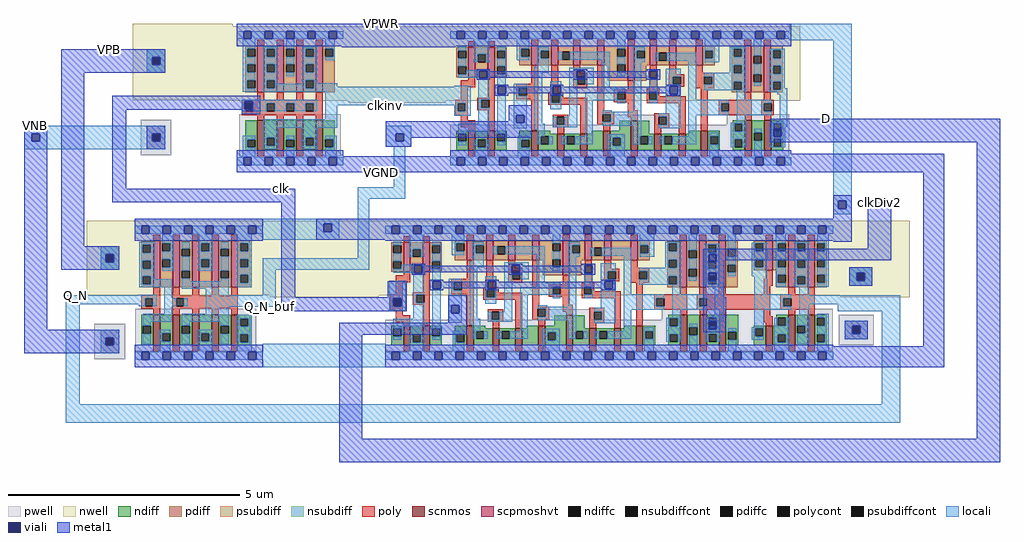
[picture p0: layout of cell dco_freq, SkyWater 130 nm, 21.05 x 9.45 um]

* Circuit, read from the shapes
.subckt dco_freq D Q_N Q_N_buf VGND VNB VPB VPWR clk clkDiv2 clkinv
XM1 VGND Q_N n1 VNB sky130_fd_pr__nfet_01v8 w=0.65 l=0.15
XM2 Q_N_buf n1 VGND VNB sky130_fd_pr__nfet_01v8 w=0.65 l=0.15 m=4
XM3 clkinv clk VGND VNB sky130_fd_pr__nfet_01v8 w=0.65 l=0.15 m=4
XM4 VGND clk n2 VNB sky130_fd_pr__nfet_01v8 w=0.42 l=0.15
XM5 n3 n2 VGND VNB sky130_fd_pr__nfet_01v8 w=0.42 l=0.15
XM6 n4 D VGND VNB sky130_fd_pr__nfet_01v8 w=0.42 l=0.15
XM7 VGND clkinv n5 VNB sky130_fd_pr__nfet_01v8 w=0.42 l=0.15
XM8 n6 n5 VGND VNB sky130_fd_pr__nfet_01v8 w=0.42 l=0.15
XM9 n7 n2 n4 VNB sky130_fd_pr__nfet_01v8 w=0.36 l=0.15
XM10 n8 n3 n7 VNB sky130_fd_pr__nfet_01v8 w=0.36 l=0.15
XM11 n9 Q_N_buf VGND VNB sky130_fd_pr__nfet_01v8 w=0.42 l=0.15
XM12 VGND n10 n8 VNB sky130_fd_pr__nfet_01v8 w=0.42 l=0.15
XM13 n11 n5 n9 VNB sky130_fd_pr__nfet_01v8 w=0.36 l=0.15
XM14 n10 n7 VGND VNB sky130_fd_pr__nfet_01v8 w=0.64 l=0.15
XM15 n12 n6 n11 VNB sky130_fd_pr__nfet_01v8 w=0.36 l=0.15
XM16 n13 n3 n10 VNB sky130_fd_pr__nfet_01v8 w=0.36 l=0.15
XM17 VGND n14 n12 VNB sky130_fd_pr__nfet_01v8 w=0.42 l=0.15
XM18 n15 n2 n13 VNB sky130_fd_pr__nfet_01v8 w=0.36 l=0.15
XM19 n14 n11 VGND VNB sky130_fd_pr__nfet_01v8 w=0.64 l=0.15
XM20 VGND n16 n15 VNB sky130_fd_pr__nfet_01v8 w=0.42 l=0.15
XM21 n17 n6 n14 VNB sky130_fd_pr__nfet_01v8 w=0.36 l=0.15
XM22 n18 n5 n17 VNB sky130_fd_pr__nfet_01v8 w=0.36 l=0.15
XM23 VGND n13 n16 VNB sky130_fd_pr__nfet_01v8 w=0.65 l=0.15
XM24 clkDiv2 n16 VGND VNB sky130_fd_pr__nfet_01v8 w=0.65 l=0.15 m=2
XM25 VGND n19 n18 VNB sky130_fd_pr__nfet_01v8 w=0.42 l=0.15
XM26 VGND n17 n19 VNB sky130_fd_pr__nfet_01v8 w=0.65 l=0.15
XM27 D n19 VGND VNB sky130_fd_pr__nfet_01v8 w=0.65 l=0.15
XM28 VGND n16 n20 VNB sky130_fd_pr__nfet_01v8 w=0.42 l=0.15
XM29 Q_N n20 VGND VNB sky130_fd_pr__nfet_01v8 w=0.65 l=0.15 m=2
XM30 VPWR Q_N n1 VPB sky130_fd_pr__pfet_01v8_hvt w=1 l=0.15
XM31 Q_N_buf n1 VPWR VPB sky130_fd_pr__pfet_01v8_hvt w=1 l=0.15 m=4
XM32 clkinv clk VPWR VPB sky130_fd_pr__pfet_01v8_hvt w=1 l=0.15 m=4
XM33 VPWR clk n2 VPB sky130_fd_pr__pfet_01v8_hvt w=0.64 l=0.15
XM34 n3 n2 VPWR VPB sky130_fd_pr__pfet_01v8_hvt w=0.64 l=0.15
XM35 n4 D VPWR VPB sky130_fd_pr__pfet_01v8_hvt w=0.42 l=0.15
XM36 VPWR clkinv n5 VPB sky130_fd_pr__pfet_01v8_hvt w=0.64 l=0.15
XM37 n7 n3 n4 VPB sky130_fd_pr__pfet_01v8_hvt w=0.42 l=0.15
XM38 n6 n5 VPWR VPB sky130_fd_pr__pfet_01v8_hvt w=0.64 l=0.15
XM39 n21 n2 n7 VPB sky130_fd_pr__pfet_01v8_hvt w=0.42 l=0.15
XM40 n9 Q_N_buf VPWR VPB sky130_fd_pr__pfet_01v8_hvt w=0.42 l=0.15
XM41 VPWR n10 n21 VPB sky130_fd_pr__pfet_01v8_hvt w=0.42 l=0.15
XM42 n11 n6 n9 VPB sky130_fd_pr__pfet_01v8_hvt w=0.42 l=0.15
XM43 n10 n7 VPWR VPB sky130_fd_pr__pfet_01v8_hvt w=0.75 l=0.15
XM44 n22 n5 n11 VPB sky130_fd_pr__pfet_01v8_hvt w=0.42 l=0.15
XM45 n13 n2 n10 VPB sky130_fd_pr__pfet_01v8_hvt w=0.42 l=0.15
XM46 VPWR n14 n22 VPB sky130_fd_pr__pfet_01v8_hvt w=0.42 l=0.15
XM47 n23 n3 n13 VPB sky130_fd_pr__pfet_01v8_hvt w=0.42 l=0.15
XM48 n14 n11 VPWR VPB sky130_fd_pr__pfet_01v8_hvt w=0.75 l=0.15
XM49 VPWR n16 n23 VPB sky130_fd_pr__pfet_01v8_hvt w=0.42 l=0.15
XM50 n17 n5 n14 VPB sky130_fd_pr__pfet_01v8_hvt w=0.42 l=0.15
XM51 n24 n6 n17 VPB sky130_fd_pr__pfet_01v8_hvt w=0.42 l=0.15
XM52 VPWR n13 n16 VPB sky130_fd_pr__pfet_01v8_hvt w=1 l=0.15
XM53 VPWR n19 n24 VPB sky130_fd_pr__pfet_01v8_hvt w=0.42 l=0.15
XM54 clkDiv2 n16 VPWR VPB sky130_fd_pr__pfet_01v8_hvt w=1 l=0.15 m=2
XM55 VPWR n17 n19 VPB sky130_fd_pr__pfet_01v8_hvt w=1 l=0.15
XM56 D n19 VPWR VPB sky130_fd_pr__pfet_01v8_hvt w=1 l=0.15
XM57 VPWR n16 n20 VPB sky130_fd_pr__pfet_01v8_hvt w=0.64 l=0.15
XM58 Q_N n20 VPWR VPB sky130_fd_pr__pfet_01v8_hvt w=1 l=0.15 m=2
.ends

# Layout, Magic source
magic
tech sky130A
magscale 1 2
<< nwell >>
rect -410 310 20 640
rect 520 300 940 630
rect -610 -530 -440 -210
rect 180 -540 650 -210
rect 2640 -260 2940 -210
rect 2630 -270 2940 -260
rect 2640 -540 2940 -270
<< pwell >>
rect -376 74 -244 226
rect -576 -806 -444 -654
rect 2634 -746 2786 -614
<< psubdiff >>
rect -350 167 -270 200
rect -350 133 -327 167
rect -293 133 -270 167
rect -350 100 -270 133
rect 2660 -663 2760 -640
rect -550 -713 -470 -680
rect -550 -747 -527 -713
rect -493 -747 -470 -713
rect 2660 -697 2693 -663
rect 2727 -697 2760 -663
rect 2660 -720 2760 -697
rect -550 -780 -470 -747
<< nsubdiff >>
rect -350 497 -270 530
rect -350 463 -327 497
rect -293 463 -270 497
rect -350 430 -270 463
rect -550 -353 -470 -320
rect -550 -387 -527 -353
rect -493 -387 -470 -353
rect -550 -420 -470 -387
rect 2680 -433 2780 -410
rect 2680 -467 2713 -433
rect 2747 -467 2780 -433
rect 2680 -490 2780 -467
<< psubdiffcont >>
rect -327 133 -293 167
rect -527 -747 -493 -713
rect 2693 -697 2727 -663
<< nsubdiffcont >>
rect -327 463 -293 497
rect -527 -387 -493 -353
rect 2713 -467 2747 -433
<< locali >>
rect 2420 570 2690 640
rect -350 497 -270 530
rect -350 463 -327 497
rect -293 463 -270 497
rect -350 430 -270 463
rect 70 307 110 310
rect 70 273 73 307
rect 107 273 110 307
rect 470 290 980 370
rect 70 270 110 273
rect 1240 247 1280 250
rect 1240 213 1243 247
rect 1277 213 1280 247
rect 1240 210 1280 213
rect -880 167 -270 200
rect -880 133 -847 167
rect -813 133 -327 167
rect -293 133 -270 167
rect -880 100 -270 133
rect 680 167 790 200
rect 680 133 723 167
rect 757 133 790 167
rect 2350 187 2390 190
rect 2350 153 2353 187
rect 2387 153 2390 187
rect 2350 150 2390 153
rect 680 110 790 133
rect 715 -65 765 110
rect 560 -115 765 -65
rect 150 -223 480 -200
rect 150 -257 413 -223
rect 447 -257 480 -223
rect 150 -290 480 -257
rect -550 -353 -470 -320
rect -550 -387 -527 -353
rect -493 -387 -470 -353
rect 560 -370 610 -115
rect 2610 -123 2690 570
rect 2610 -157 2633 -123
rect 2667 -157 2690 -123
rect 2610 -180 2690 -157
rect -550 -420 -470 -387
rect 150 -420 610 -370
rect 2070 -353 2110 -350
rect 2070 -387 2073 -353
rect 2107 -387 2110 -353
rect 2070 -390 2110 -387
rect 150 -530 205 -420
rect 2070 -433 2110 -430
rect 2070 -467 2073 -433
rect 2107 -467 2110 -433
rect 2070 -470 2110 -467
rect 2680 -433 2780 -410
rect 2680 -467 2713 -433
rect 2747 -467 2780 -433
rect 2680 -490 2780 -467
rect -700 -570 -370 -530
rect -700 -1000 -640 -570
rect 0 -580 205 -530
rect 2490 -530 2500 -520
rect 710 -543 750 -540
rect 710 -577 713 -543
rect 747 -577 750 -543
rect 2490 -570 2900 -530
rect 710 -580 750 -577
rect 960 -573 1000 -570
rect 960 -607 963 -573
rect 997 -607 1000 -573
rect 2490 -580 2500 -570
rect 2630 -600 2900 -570
rect 960 -610 1000 -607
rect 2070 -643 2110 -640
rect 2070 -677 2073 -643
rect 2107 -677 2110 -643
rect 2070 -680 2110 -677
rect 2660 -663 2760 -640
rect -550 -713 -470 -680
rect -550 -747 -527 -713
rect -493 -747 -470 -713
rect 2660 -697 2693 -663
rect 2727 -697 2760 -663
rect 2660 -720 2760 -697
rect -550 -780 -470 -747
rect 150 -840 680 -740
rect 2820 -1000 2900 -600
rect -700 -1080 2900 -1000
<< viali >>
rect -327 463 -293 497
rect 73 273 107 307
rect 1243 213 1277 247
rect -847 133 -813 167
rect -327 133 -293 167
rect 723 133 757 167
rect 2353 153 2387 187
rect 413 -257 447 -223
rect -527 -387 -493 -353
rect 2633 -157 2667 -123
rect 2073 -387 2107 -353
rect 2073 -467 2107 -433
rect 2713 -467 2747 -433
rect 713 -577 747 -543
rect 963 -607 997 -573
rect 2073 -677 2107 -643
rect -527 -747 -493 -713
rect 2693 -697 2727 -663
<< metal1 >>
rect 490 540 980 640
rect -720 497 -270 530
rect -720 463 -327 497
rect -293 463 -270 497
rect -720 430 -270 463
rect -880 167 -780 200
rect -880 133 -847 167
rect -813 133 -780 167
rect -880 -680 -780 133
rect -720 -320 -620 430
rect -500 307 140 330
rect -500 273 73 307
rect 107 273 140 307
rect -500 270 140 273
rect -500 -70 -440 270
rect 60 250 140 270
rect 1210 247 1310 290
rect 1210 220 1243 247
rect 680 213 1243 220
rect 1277 213 1310 247
rect -350 167 -270 200
rect -350 133 -327 167
rect -293 133 -270 167
rect -350 100 -270 133
rect 680 167 1310 213
rect 680 133 723 167
rect 757 150 1310 167
rect 2340 187 3330 230
rect 2340 153 2353 187
rect 2387 153 3330 187
rect 757 133 790 150
rect 680 110 790 133
rect 2340 130 3330 153
rect 490 0 960 70
rect 2430 0 3090 80
rect -500 -130 290 -70
rect -720 -353 -470 -320
rect -720 -387 -527 -353
rect -493 -387 -470 -353
rect -720 -420 -470 -387
rect 230 -540 290 -130
rect 2610 -123 2690 -100
rect 2610 -157 2633 -123
rect 2667 -157 2690 -123
rect 380 -223 690 -200
rect 380 -257 413 -223
rect 447 -257 690 -223
rect 380 -290 690 -257
rect 2610 -300 2690 -157
rect 2760 -330 2860 -130
rect 2050 -353 2860 -330
rect 2050 -387 2073 -353
rect 2107 -380 2860 -353
rect 2107 -387 2140 -380
rect 2050 -433 2140 -387
rect 2050 -467 2073 -433
rect 2107 -467 2140 -433
rect 690 -540 770 -470
rect 230 -543 770 -540
rect 230 -577 713 -543
rect 747 -577 770 -543
rect 230 -600 770 -577
rect 950 -573 1030 -530
rect 950 -607 963 -573
rect 997 -607 1030 -573
rect 950 -650 1030 -607
rect -880 -713 -470 -680
rect -880 -747 -527 -713
rect -493 -747 -470 -713
rect -880 -780 -470 -747
rect 480 -700 1030 -650
rect 2050 -540 2140 -467
rect 2680 -433 2780 -410
rect 2680 -467 2713 -433
rect 2747 -467 2780 -433
rect 2680 -490 2780 -467
rect 2050 -643 2150 -540
rect 2050 -677 2073 -643
rect 2107 -677 2150 -643
rect 2050 -690 2150 -677
rect 2660 -663 2760 -640
rect 2660 -697 2693 -663
rect 2727 -697 2760 -663
rect 480 -1150 580 -700
rect 2660 -720 2760 -697
rect 3000 -750 3090 0
rect 2610 -840 3090 -750
rect 3230 -1150 3330 130
rect 480 -1250 3330 -1150
use sky130_fd_sc_hd__buf_4  sky130_fd_sc_hd__buf_4_0
transform 1 0 -402 0 1 -792
box -38 -48 590 592
use sky130_fd_sc_hd__dfxbp_2  sky130_fd_sc_hd__dfxbp_2_0
transform 1 0 678 0 1 -792
box -38 -48 1970 592
use sky130_fd_sc_hd__dfxtp_1  sky130_fd_sc_hd__dfxtp_1_0
transform 1 0 958 0 1 48
box -38 -48 1510 592
use sky130_fd_sc_hd__inv_4  sky130_fd_sc_hd__inv_4_0
transform 1 0 38 0 1 48
box -38 -48 498 592
<< labels >>
rlabel locali s 180 -580 180 -580 4 Q_N_buf
rlabel locali s -660 -530 -660 -530 4 Q_N
rlabel metal1 s 2580 230 2580 230 4 D
rlabel metal1 s -830 200 -830 200 4 VNB
rlabel metal1 s -510 530 -510 530 4 VPB
rlabel metal1 s 660 0 660 0 4 VGND
rlabel metal1 s 660 640 660 640 4 VPWR
rlabel locali s 680 290 680 290 4 clkinv
rlabel metal1 s 230 -70 230 -70 4 clk
rlabel metal1 s 2810 -130 2810 -130 4 clkDiv2
<< end >>

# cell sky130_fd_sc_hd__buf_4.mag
magic
tech sky130A
magscale 1 2
<< nwell >>
rect -38 261 590 582
<< pwell >>
rect 1 21 523 203
rect 30 -17 64 21
<< scnmos >>
rect 79 47 109 177
rect 163 47 193 177
rect 247 47 277 177
rect 331 47 361 177
rect 415 47 445 177
<< scpmoshvt >>
rect 79 297 109 497
rect 163 297 193 497
rect 247 297 277 497
rect 331 297 361 497
rect 415 297 445 497
<< ndiff >>
rect 27 129 79 177
rect 27 95 35 129
rect 69 95 79 129
rect 27 47 79 95
rect 109 97 163 177
rect 109 63 119 97
rect 153 63 163 97
rect 109 47 163 63
rect 193 129 247 177
rect 193 95 203 129
rect 237 95 247 129
rect 193 47 247 95
rect 277 97 331 177
rect 277 63 287 97
rect 321 63 331 97
rect 277 47 331 63
rect 361 129 415 177
rect 361 95 371 129
rect 405 95 415 129
rect 361 47 415 95
rect 445 161 497 177
rect 445 127 455 161
rect 489 127 497 161
rect 445 93 497 127
rect 445 59 455 93
rect 489 59 497 93
rect 445 47 497 59
<< pdiff >>
rect 27 479 79 497
rect 27 445 35 479
rect 69 445 79 479
rect 27 411 79 445
rect 27 377 35 411
rect 69 377 79 411
rect 27 343 79 377
rect 27 309 35 343
rect 69 309 79 343
rect 27 297 79 309
rect 109 485 163 497
rect 109 451 119 485
rect 153 451 163 485
rect 109 417 163 451
rect 109 383 119 417
rect 153 383 163 417
rect 109 297 163 383
rect 193 463 247 497
rect 193 429 203 463
rect 237 429 247 463
rect 193 368 247 429
rect 193 334 203 368
rect 237 334 247 368
rect 193 297 247 334
rect 277 485 331 497
rect 277 451 287 485
rect 321 451 331 485
rect 277 417 331 451
rect 277 383 287 417
rect 321 383 331 417
rect 277 297 331 383
rect 361 463 415 497
rect 361 429 371 463
rect 405 429 415 463
rect 361 368 415 429
rect 361 334 371 368
rect 405 334 415 368
rect 361 297 415 334
rect 445 485 497 497
rect 445 451 455 485
rect 489 451 497 485
rect 445 417 497 451
rect 445 383 455 417
rect 489 383 497 417
rect 445 349 497 383
rect 445 315 455 349
rect 489 315 497 349
rect 445 297 497 315
<< ndiffc >>
rect 35 95 69 129
rect 119 63 153 97
rect 203 95 237 129
rect 287 63 321 97
rect 371 95 405 129
rect 455 127 489 161
rect 455 59 489 93
<< pdiffc >>
rect 35 445 69 479
rect 35 377 69 411
rect 35 309 69 343
rect 119 451 153 485
rect 119 383 153 417
rect 203 429 237 463
rect 203 334 237 368
rect 287 451 321 485
rect 287 383 321 417
rect 371 429 405 463
rect 371 334 405 368
rect 455 451 489 485
rect 455 383 489 417
rect 455 315 489 349
<< poly >>
rect 79 497 109 523
rect 163 497 193 523
rect 247 497 277 523
rect 331 497 361 523
rect 415 497 445 523
rect 79 261 109 297
rect 28 249 109 261
rect 163 259 193 297
rect 247 259 277 297
rect 331 259 361 297
rect 415 259 445 297
rect 28 215 44 249
rect 78 215 109 249
rect 28 203 109 215
rect 162 249 445 259
rect 162 215 178 249
rect 212 215 445 249
rect 162 205 445 215
rect 79 177 109 203
rect 163 177 193 205
rect 247 177 277 205
rect 331 177 361 205
rect 415 177 445 205
rect 79 21 109 47
rect 163 21 193 47
rect 247 21 277 47
rect 331 21 361 47
rect 415 21 445 47
<< polycont >>
rect 44 215 78 249
rect 178 215 212 249
<< locali >>
rect 0 527 29 561
rect 63 527 121 561
rect 155 527 213 561
rect 247 527 305 561
rect 339 527 397 561
rect 431 527 489 561
rect 523 527 552 561
rect 19 479 85 493
rect 19 445 35 479
rect 69 445 85 479
rect 19 411 85 445
rect 19 377 35 411
rect 69 377 85 411
rect 19 343 85 377
rect 119 485 167 527
rect 153 451 167 485
rect 119 417 167 451
rect 153 383 167 417
rect 119 367 167 383
rect 203 463 237 493
rect 203 368 237 429
rect 19 309 35 343
rect 69 331 85 343
rect 271 485 337 527
rect 271 451 287 485
rect 321 451 337 485
rect 271 417 337 451
rect 271 383 287 417
rect 321 383 337 417
rect 271 367 337 383
rect 371 463 405 493
rect 371 368 405 429
rect 69 309 162 331
rect 19 297 162 309
rect 18 249 94 263
rect 18 215 44 249
rect 78 215 94 249
rect 128 249 162 297
rect 203 323 237 334
rect 371 323 405 334
rect 203 289 405 323
rect 439 485 505 527
rect 439 451 455 485
rect 489 451 505 485
rect 439 417 505 451
rect 439 383 455 417
rect 489 383 505 417
rect 439 349 505 383
rect 439 315 455 349
rect 489 315 505 349
rect 439 297 505 315
rect 128 215 178 249
rect 212 215 228 249
rect 128 181 162 215
rect 306 181 405 289
rect 35 147 162 181
rect 203 147 405 181
rect 35 129 69 147
rect 203 129 237 147
rect 35 51 69 95
rect 105 97 153 113
rect 105 63 119 97
rect 105 17 153 63
rect 371 129 405 147
rect 203 51 237 95
rect 271 97 337 113
rect 271 63 287 97
rect 321 63 337 97
rect 271 17 337 63
rect 371 51 405 95
rect 439 161 505 177
rect 439 127 455 161
rect 489 127 505 161
rect 439 93 505 127
rect 439 59 455 93
rect 489 59 505 93
rect 439 17 505 59
rect 0 -17 29 17
rect 63 -17 121 17
rect 155 -17 213 17
rect 247 -17 305 17
rect 339 -17 397 17
rect 431 -17 489 17
rect 523 -17 552 17
<< viali >>
rect 29 527 63 561
rect 121 527 155 561
rect 213 527 247 561
rect 305 527 339 561
rect 397 527 431 561
rect 489 527 523 561
rect 29 -17 63 17
rect 121 -17 155 17
rect 213 -17 247 17
rect 305 -17 339 17
rect 397 -17 431 17
rect 489 -17 523 17
<< metal1 >>
rect 0 561 552 592
rect 0 527 29 561
rect 63 527 121 561
rect 155 527 213 561
rect 247 527 305 561
rect 339 527 397 561
rect 431 527 489 561
rect 523 527 552 561
rect 0 496 552 527
rect 0 17 552 48
rect 0 -17 29 17
rect 63 -17 121 17
rect 155 -17 213 17
rect 247 -17 305 17
rect 339 -17 397 17
rect 431 -17 489 17
rect 523 -17 552 17
rect 0 -48 552 -17
<< labels >>
flabel metal1 s 30 527 64 561 0 FreeSans 200 0 0 0 VPWR
port 2 nsew
flabel metal1 s 30 -17 64 17 0 FreeSans 200 0 0 0 VGND
port 3 nsew
flabel locali s 306 221 340 255 0 FreeSans 200 0 0 0 X
port 4 nsew
flabel locali s 306 289 340 323 0 FreeSans 200 0 0 0 X
port 4 nsew
flabel locali s 306 153 340 187 0 FreeSans 200 0 0 0 X
port 4 nsew
flabel locali s 30 527 64 561 0 FreeSans 200 0 0 0 VPWR
port 2 nsew
flabel locali s 30 -17 64 17 0 FreeSans 200 0 0 0 VGND
port 3 nsew
flabel locali s 30 221 64 255 0 FreeSans 200 0 0 0 A
port 5 nsew
flabel nwell s 30 527 64 561 0 FreeSans 200 0 0 0 VPB
port 6 nsew
flabel pwell s 30 -17 64 17 0 FreeSans 200 0 0 0 VNB
port 7 nsew
rlabel comment s 0 0 0 0 4 buf_4
<< properties >>
string FIXED_BBOX 0 0 552 544
string path 0.000 2.720 2.760 2.720 
<< end >>

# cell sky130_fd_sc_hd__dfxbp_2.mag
magic
tech sky130A
magscale 1 2
<< nwell >>
rect -38 261 1970 582
<< pwell >>
rect 704 157 886 201
rect 1194 157 1931 203
rect 1 21 1931 157
rect 29 -17 63 21
<< scnmos >>
rect 79 47 109 131
rect 163 47 193 131
rect 351 47 381 131
rect 463 47 493 119
rect 562 47 592 119
rect 661 47 691 131
rect 780 47 810 175
rect 881 47 911 119
rect 987 47 1017 119
rect 1082 47 1112 131
rect 1272 47 1302 177
rect 1356 47 1386 177
rect 1440 47 1470 177
rect 1641 47 1671 131
rect 1738 47 1768 177
rect 1822 47 1852 177
<< scpmoshvt >>
rect 79 363 109 491
rect 163 363 193 491
rect 351 413 381 497
rect 436 413 466 497
rect 531 413 561 497
rect 634 413 664 497
rect 766 347 796 497
rect 861 413 891 497
rect 945 413 975 497
rect 1059 413 1089 497
rect 1270 297 1300 497
rect 1354 297 1384 497
rect 1438 297 1468 497
rect 1641 369 1671 497
rect 1738 297 1768 497
rect 1822 297 1852 497
<< ndiff >>
rect 27 119 79 131
rect 27 85 35 119
rect 69 85 79 119
rect 27 47 79 85
rect 109 93 163 131
rect 109 59 119 93
rect 153 59 163 93
rect 109 47 163 59
rect 193 119 245 131
rect 193 85 203 119
rect 237 85 245 119
rect 193 47 245 85
rect 299 93 351 131
rect 299 59 307 93
rect 341 59 351 93
rect 299 47 351 59
rect 381 119 431 131
rect 730 131 780 175
rect 611 119 661 131
rect 381 107 463 119
rect 381 73 392 107
rect 426 73 463 107
rect 381 47 463 73
rect 493 107 562 119
rect 493 73 503 107
rect 537 73 562 107
rect 493 47 562 73
rect 592 47 661 119
rect 691 101 780 131
rect 691 67 702 101
rect 736 67 780 101
rect 691 47 780 67
rect 810 119 860 175
rect 1220 162 1272 177
rect 1032 119 1082 131
rect 810 107 881 119
rect 810 73 821 107
rect 855 73 881 107
rect 810 47 881 73
rect 911 107 987 119
rect 911 73 924 107
rect 958 73 987 107
rect 911 47 987 73
rect 1017 47 1082 119
rect 1112 107 1164 131
rect 1112 73 1122 107
rect 1156 73 1164 107
rect 1112 47 1164 73
rect 1220 128 1228 162
rect 1262 128 1272 162
rect 1220 94 1272 128
rect 1220 60 1228 94
rect 1262 60 1272 94
rect 1220 47 1272 60
rect 1302 123 1356 177
rect 1302 89 1312 123
rect 1346 89 1356 123
rect 1302 47 1356 89
rect 1386 164 1440 177
rect 1386 130 1396 164
rect 1430 130 1440 164
rect 1386 96 1440 130
rect 1386 62 1396 96
rect 1430 62 1440 96
rect 1386 47 1440 62
rect 1470 104 1522 177
rect 1686 165 1738 177
rect 1686 131 1694 165
rect 1728 131 1738 165
rect 1470 70 1480 104
rect 1514 70 1522 104
rect 1470 47 1522 70
rect 1589 119 1641 131
rect 1589 85 1597 119
rect 1631 85 1641 119
rect 1589 47 1641 85
rect 1671 93 1738 131
rect 1671 59 1694 93
rect 1728 59 1738 93
rect 1671 47 1738 59
rect 1768 131 1822 177
rect 1768 97 1778 131
rect 1812 97 1822 131
rect 1768 47 1822 97
rect 1852 165 1905 177
rect 1852 131 1863 165
rect 1897 131 1905 165
rect 1852 93 1905 131
rect 1852 59 1863 93
rect 1897 59 1905 93
rect 1852 47 1905 59
<< pdiff >>
rect 27 477 79 491
rect 27 443 35 477
rect 69 443 79 477
rect 27 409 79 443
rect 27 375 35 409
rect 69 375 79 409
rect 27 363 79 375
rect 109 461 163 491
rect 109 427 119 461
rect 153 427 163 461
rect 109 363 163 427
rect 193 477 245 491
rect 193 443 203 477
rect 237 443 245 477
rect 193 409 245 443
rect 299 485 351 497
rect 299 451 307 485
rect 341 451 351 485
rect 299 413 351 451
rect 381 477 436 497
rect 381 443 391 477
rect 425 443 436 477
rect 381 413 436 443
rect 466 472 531 497
rect 466 438 483 472
rect 517 438 531 472
rect 466 413 531 438
rect 561 413 634 497
rect 664 485 766 497
rect 664 451 722 485
rect 756 451 766 485
rect 664 417 766 451
rect 664 413 722 417
rect 193 375 203 409
rect 237 375 245 409
rect 193 363 245 375
rect 679 383 722 413
rect 756 383 766 417
rect 679 347 766 383
rect 796 477 861 497
rect 796 443 806 477
rect 840 443 861 477
rect 796 413 861 443
rect 891 467 945 497
rect 891 433 901 467
rect 935 433 945 467
rect 891 413 945 433
rect 975 413 1059 497
rect 1089 477 1142 497
rect 1089 443 1100 477
rect 1134 443 1142 477
rect 1089 413 1142 443
rect 1216 485 1270 497
rect 1216 451 1224 485
rect 1258 451 1270 485
rect 1216 414 1270 451
rect 796 347 846 413
rect 1216 380 1224 414
rect 1258 380 1270 414
rect 1216 343 1270 380
rect 1216 309 1224 343
rect 1258 309 1270 343
rect 1216 297 1270 309
rect 1300 455 1354 497
rect 1300 421 1310 455
rect 1344 421 1354 455
rect 1300 375 1354 421
rect 1300 341 1310 375
rect 1344 341 1354 375
rect 1300 297 1354 341
rect 1384 479 1438 497
rect 1384 445 1394 479
rect 1428 445 1438 479
rect 1384 411 1438 445
rect 1384 377 1394 411
rect 1428 377 1438 411
rect 1384 343 1438 377
rect 1384 309 1394 343
rect 1428 309 1438 343
rect 1384 297 1438 309
rect 1468 462 1520 497
rect 1468 428 1478 462
rect 1512 428 1520 462
rect 1468 394 1520 428
rect 1468 360 1478 394
rect 1512 360 1520 394
rect 1589 485 1641 497
rect 1589 451 1597 485
rect 1631 451 1641 485
rect 1589 417 1641 451
rect 1589 383 1597 417
rect 1631 383 1641 417
rect 1589 369 1641 383
rect 1671 485 1738 497
rect 1671 451 1694 485
rect 1728 451 1738 485
rect 1671 417 1738 451
rect 1671 383 1694 417
rect 1728 383 1738 417
rect 1671 369 1738 383
rect 1468 297 1520 360
rect 1686 349 1738 369
rect 1686 315 1694 349
rect 1728 315 1738 349
rect 1686 297 1738 315
rect 1768 485 1822 497
rect 1768 451 1778 485
rect 1812 451 1822 485
rect 1768 414 1822 451
rect 1768 380 1778 414
rect 1812 380 1822 414
rect 1768 343 1822 380
rect 1768 309 1778 343
rect 1812 309 1822 343
rect 1768 297 1822 309
rect 1852 485 1905 497
rect 1852 451 1863 485
rect 1897 451 1905 485
rect 1852 417 1905 451
rect 1852 383 1863 417
rect 1897 383 1905 417
rect 1852 349 1905 383
rect 1852 315 1863 349
rect 1897 315 1905 349
rect 1852 297 1905 315
<< ndiffc >>
rect 35 85 69 119
rect 119 59 153 93
rect 203 85 237 119
rect 307 59 341 93
rect 392 73 426 107
rect 503 73 537 107
rect 702 67 736 101
rect 821 73 855 107
rect 924 73 958 107
rect 1122 73 1156 107
rect 1228 128 1262 162
rect 1228 60 1262 94
rect 1312 89 1346 123
rect 1396 130 1430 164
rect 1396 62 1430 96
rect 1694 131 1728 165
rect 1480 70 1514 104
rect 1597 85 1631 119
rect 1694 59 1728 93
rect 1778 97 1812 131
rect 1863 131 1897 165
rect 1863 59 1897 93
<< pdiffc >>
rect 35 443 69 477
rect 35 375 69 409
rect 119 427 153 461
rect 203 443 237 477
rect 307 451 341 485
rect 391 443 425 477
rect 483 438 517 472
rect 722 451 756 485
rect 203 375 237 409
rect 722 383 756 417
rect 806 443 840 477
rect 901 433 935 467
rect 1100 443 1134 477
rect 1224 451 1258 485
rect 1224 380 1258 414
rect 1224 309 1258 343
rect 1310 421 1344 455
rect 1310 341 1344 375
rect 1394 445 1428 479
rect 1394 377 1428 411
rect 1394 309 1428 343
rect 1478 428 1512 462
rect 1478 360 1512 394
rect 1597 451 1631 485
rect 1597 383 1631 417
rect 1694 451 1728 485
rect 1694 383 1728 417
rect 1694 315 1728 349
rect 1778 451 1812 485
rect 1778 380 1812 414
rect 1778 309 1812 343
rect 1863 451 1897 485
rect 1863 383 1897 417
rect 1863 315 1897 349
<< poly >>
rect 79 491 109 517
rect 163 491 193 517
rect 351 497 381 523
rect 436 497 466 523
rect 531 497 561 523
rect 634 497 664 523
rect 766 497 796 523
rect 861 497 891 523
rect 945 497 975 523
rect 1059 497 1089 523
rect 1270 497 1300 523
rect 1354 497 1384 523
rect 1438 497 1468 523
rect 1641 497 1671 523
rect 1738 497 1768 523
rect 1822 497 1852 523
rect 79 348 109 363
rect 46 318 109 348
rect 46 265 76 318
rect 163 274 193 363
rect 351 333 381 413
rect 22 249 76 265
rect 22 215 32 249
rect 66 215 76 249
rect 118 264 193 274
rect 286 317 381 333
rect 286 283 296 317
rect 330 283 381 317
rect 436 297 466 413
rect 531 381 561 413
rect 531 365 592 381
rect 531 331 548 365
rect 582 331 592 365
rect 531 315 592 331
rect 286 267 381 283
rect 118 230 134 264
rect 168 230 193 264
rect 118 220 193 230
rect 22 199 76 215
rect 46 176 76 199
rect 46 146 109 176
rect 79 131 109 146
rect 163 131 193 220
rect 351 131 381 267
rect 423 287 489 297
rect 423 253 439 287
rect 473 273 489 287
rect 473 253 592 273
rect 423 243 592 253
rect 443 191 509 201
rect 443 157 459 191
rect 493 157 509 191
rect 443 147 509 157
rect 463 119 493 147
rect 562 119 592 243
rect 634 213 664 413
rect 766 309 796 347
rect 861 315 891 413
rect 945 375 975 413
rect 1059 381 1089 413
rect 944 365 1010 375
rect 944 331 960 365
rect 994 331 1010 365
rect 944 321 1010 331
rect 1059 365 1140 381
rect 1059 331 1096 365
rect 1130 331 1140 365
rect 1059 315 1140 331
rect 706 299 796 309
rect 706 265 722 299
rect 756 265 796 299
rect 706 255 796 265
rect 766 220 796 255
rect 848 299 902 315
rect 848 265 858 299
rect 892 279 902 299
rect 892 265 1017 279
rect 848 249 1017 265
rect 634 203 708 213
rect 634 169 658 203
rect 692 169 708 203
rect 766 190 810 220
rect 780 175 810 190
rect 881 191 945 207
rect 634 159 708 169
rect 661 131 691 159
rect 881 157 901 191
rect 935 157 945 191
rect 881 141 945 157
rect 881 119 911 141
rect 987 119 1017 249
rect 1082 131 1112 315
rect 1641 333 1671 369
rect 1632 303 1671 333
rect 1270 265 1300 297
rect 1354 265 1384 297
rect 1438 265 1468 297
rect 1632 265 1662 303
rect 1738 265 1768 297
rect 1822 265 1852 297
rect 1160 249 1302 265
rect 1160 215 1170 249
rect 1204 215 1302 249
rect 1160 199 1302 215
rect 1344 249 1662 265
rect 1344 215 1354 249
rect 1388 215 1662 249
rect 1344 199 1662 215
rect 1704 249 1852 265
rect 1704 215 1718 249
rect 1752 215 1852 249
rect 1704 199 1852 215
rect 1272 177 1302 199
rect 1356 177 1386 199
rect 1440 177 1470 199
rect 1632 170 1662 199
rect 1738 177 1768 199
rect 1822 177 1852 199
rect 1632 146 1671 170
rect 1641 131 1671 146
rect 79 21 109 47
rect 163 21 193 47
rect 351 21 381 47
rect 463 21 493 47
rect 562 21 592 47
rect 661 21 691 47
rect 780 21 810 47
rect 881 21 911 47
rect 987 21 1017 47
rect 1082 21 1112 47
rect 1272 21 1302 47
rect 1356 21 1386 47
rect 1440 21 1470 47
rect 1641 21 1671 47
rect 1738 21 1768 47
rect 1822 21 1852 47
<< polycont >>
rect 32 215 66 249
rect 296 283 330 317
rect 548 331 582 365
rect 134 230 168 264
rect 439 253 473 287
rect 459 157 493 191
rect 960 331 994 365
rect 1096 331 1130 365
rect 722 265 756 299
rect 858 265 892 299
rect 658 169 692 203
rect 901 157 935 191
rect 1170 215 1204 249
rect 1354 215 1388 249
rect 1718 215 1752 249
<< locali >>
rect 0 527 29 561
rect 63 527 121 561
rect 155 527 213 561
rect 247 527 305 561
rect 339 527 397 561
rect 431 527 489 561
rect 523 527 581 561
rect 615 527 673 561
rect 707 527 765 561
rect 799 527 857 561
rect 891 527 949 561
rect 983 527 1041 561
rect 1075 527 1133 561
rect 1167 527 1225 561
rect 1259 527 1317 561
rect 1351 527 1409 561
rect 1443 527 1501 561
rect 1535 527 1593 561
rect 1627 527 1685 561
rect 1719 527 1777 561
rect 1811 527 1869 561
rect 1903 527 1932 561
rect 35 477 69 493
rect 35 409 69 443
rect 103 461 169 527
rect 103 427 119 461
rect 153 427 169 461
rect 203 477 240 493
rect 237 443 240 477
rect 203 409 240 443
rect 288 485 341 527
rect 288 451 307 485
rect 288 435 341 451
rect 375 477 425 493
rect 375 443 391 477
rect 722 485 756 527
rect 69 391 168 393
rect 69 375 126 391
rect 35 359 126 375
rect 122 357 126 359
rect 160 357 168 391
rect 18 249 88 325
rect 18 215 32 249
rect 66 215 88 249
rect 18 195 88 215
rect 122 264 168 357
rect 122 230 134 264
rect 122 161 168 230
rect 35 127 168 161
rect 237 375 240 409
rect 375 408 425 443
rect 467 438 483 472
rect 517 438 688 472
rect 203 323 240 375
rect 364 382 425 408
rect 514 391 620 404
rect 203 289 205 323
rect 239 289 240 323
rect 35 119 69 127
rect 203 119 240 289
rect 274 317 330 333
rect 274 283 296 317
rect 274 143 330 283
rect 364 161 398 382
rect 514 357 546 391
rect 580 365 620 391
rect 432 323 480 344
rect 432 289 443 323
rect 477 289 480 323
rect 432 287 480 289
rect 432 253 439 287
rect 473 253 480 287
rect 432 225 480 253
rect 514 191 548 357
rect 582 331 620 365
rect 654 315 688 438
rect 722 417 756 451
rect 722 367 756 383
rect 790 477 840 493
rect 790 443 806 477
rect 1098 477 1161 527
rect 790 427 840 443
rect 885 433 901 467
rect 935 433 1062 467
rect 654 299 756 315
rect 654 297 722 299
rect 364 135 409 161
rect 443 157 459 191
rect 493 157 548 191
rect 443 147 548 157
rect 582 265 722 297
rect 582 263 756 265
rect 35 69 69 85
rect 103 59 119 93
rect 153 59 169 93
rect 237 85 240 119
rect 203 69 240 85
rect 291 93 341 109
rect 103 17 169 59
rect 291 59 307 93
rect 375 107 409 135
rect 582 107 616 263
rect 722 249 756 263
rect 658 213 698 219
rect 790 213 824 427
rect 858 391 896 393
rect 858 357 860 391
rect 894 357 896 391
rect 858 299 896 357
rect 892 265 896 299
rect 858 249 896 265
rect 930 365 994 399
rect 930 331 960 365
rect 930 323 994 331
rect 930 289 947 323
rect 981 289 994 323
rect 658 203 824 213
rect 930 207 994 289
rect 692 169 824 203
rect 658 153 824 169
rect 375 73 392 107
rect 426 73 442 107
rect 481 73 503 107
rect 537 73 616 107
rect 680 101 754 117
rect 291 17 341 59
rect 680 67 702 101
rect 736 67 754 101
rect 790 107 824 153
rect 901 191 994 207
rect 935 157 994 191
rect 901 141 994 157
rect 1028 265 1062 433
rect 1098 443 1100 477
rect 1134 443 1161 477
rect 1098 427 1161 443
rect 1208 485 1276 493
rect 1208 451 1224 485
rect 1258 451 1276 485
rect 1208 414 1276 451
rect 1208 381 1224 414
rect 1096 380 1224 381
rect 1258 380 1276 414
rect 1096 365 1276 380
rect 1130 343 1276 365
rect 1130 331 1224 343
rect 1096 309 1224 331
rect 1258 309 1276 343
rect 1310 455 1344 527
rect 1310 375 1344 421
rect 1310 325 1344 341
rect 1378 479 1444 484
rect 1378 445 1394 479
rect 1428 445 1444 479
rect 1378 411 1444 445
rect 1378 377 1394 411
rect 1428 377 1444 411
rect 1378 343 1444 377
rect 1478 462 1513 527
rect 1512 428 1513 462
rect 1478 394 1513 428
rect 1512 360 1513 394
rect 1478 344 1513 360
rect 1581 485 1647 489
rect 1581 451 1597 485
rect 1631 451 1647 485
rect 1581 417 1647 451
rect 1581 383 1597 417
rect 1631 383 1647 417
rect 1581 343 1647 383
rect 1096 306 1276 309
rect 1238 265 1276 306
rect 1378 309 1394 343
rect 1428 315 1444 343
rect 1428 309 1460 315
rect 1378 299 1460 309
rect 1413 289 1460 299
rect 1028 249 1204 265
rect 1028 215 1170 249
rect 1028 199 1204 215
rect 1238 249 1388 265
rect 1238 215 1354 249
rect 1238 199 1388 215
rect 1028 107 1062 199
rect 1238 165 1278 199
rect 1422 173 1460 289
rect 1411 165 1460 173
rect 1212 162 1278 165
rect 1212 128 1228 162
rect 1262 128 1278 162
rect 1380 164 1460 165
rect 790 73 821 107
rect 855 73 871 107
rect 905 73 924 107
rect 958 73 1062 107
rect 1117 107 1159 123
rect 1117 73 1122 107
rect 1156 73 1159 107
rect 680 17 754 67
rect 1117 17 1159 73
rect 1212 94 1278 128
rect 1212 60 1228 94
rect 1262 60 1278 94
rect 1312 123 1346 139
rect 1312 17 1346 89
rect 1380 130 1396 164
rect 1430 148 1460 164
rect 1593 265 1647 343
rect 1685 485 1728 527
rect 1685 451 1694 485
rect 1685 417 1728 451
rect 1685 383 1694 417
rect 1685 349 1728 383
rect 1685 315 1694 349
rect 1685 299 1728 315
rect 1762 485 1829 493
rect 1762 451 1778 485
rect 1812 451 1829 485
rect 1762 414 1829 451
rect 1762 380 1778 414
rect 1812 380 1829 414
rect 1762 343 1829 380
rect 1762 309 1778 343
rect 1812 309 1829 343
rect 1762 299 1829 309
rect 1863 485 1913 527
rect 1897 451 1913 485
rect 1863 417 1913 451
rect 1897 383 1913 417
rect 1863 349 1913 383
rect 1897 315 1913 349
rect 1863 299 1913 315
rect 1593 249 1752 265
rect 1593 215 1718 249
rect 1593 199 1752 215
rect 1430 130 1446 148
rect 1380 96 1446 130
rect 1593 123 1633 199
rect 1786 177 1829 299
rect 1380 62 1396 96
rect 1430 62 1446 96
rect 1380 61 1446 62
rect 1480 104 1514 120
rect 1480 17 1514 70
rect 1581 119 1633 123
rect 1581 85 1597 119
rect 1631 85 1633 119
rect 1581 69 1633 85
rect 1678 131 1694 165
rect 1728 131 1744 165
rect 1678 93 1744 131
rect 1678 59 1694 93
rect 1728 59 1744 93
rect 1678 17 1744 59
rect 1778 131 1829 177
rect 1812 97 1829 131
rect 1778 53 1829 97
rect 1863 165 1913 181
rect 1897 131 1913 165
rect 1863 93 1913 131
rect 1897 59 1913 93
rect 1863 17 1913 59
rect 0 -17 29 17
rect 63 -17 121 17
rect 155 -17 213 17
rect 247 -17 305 17
rect 339 -17 397 17
rect 431 -17 489 17
rect 523 -17 581 17
rect 615 -17 673 17
rect 707 -17 765 17
rect 799 -17 857 17
rect 891 -17 949 17
rect 983 -17 1041 17
rect 1075 -17 1133 17
rect 1167 -17 1225 17
rect 1259 -17 1317 17
rect 1351 -17 1409 17
rect 1443 -17 1501 17
rect 1535 -17 1593 17
rect 1627 -17 1685 17
rect 1719 -17 1777 17
rect 1811 -17 1869 17
rect 1903 -17 1932 17
<< viali >>
rect 29 527 63 561
rect 121 527 155 561
rect 213 527 247 561
rect 305 527 339 561
rect 397 527 431 561
rect 489 527 523 561
rect 581 527 615 561
rect 673 527 707 561
rect 765 527 799 561
rect 857 527 891 561
rect 949 527 983 561
rect 1041 527 1075 561
rect 1133 527 1167 561
rect 1225 527 1259 561
rect 1317 527 1351 561
rect 1409 527 1443 561
rect 1501 527 1535 561
rect 1593 527 1627 561
rect 1685 527 1719 561
rect 1777 527 1811 561
rect 1869 527 1903 561
rect 126 357 160 391
rect 205 289 239 323
rect 546 365 580 391
rect 546 357 548 365
rect 548 357 580 365
rect 443 289 477 323
rect 860 357 894 391
rect 947 289 981 323
rect 29 -17 63 17
rect 121 -17 155 17
rect 213 -17 247 17
rect 305 -17 339 17
rect 397 -17 431 17
rect 489 -17 523 17
rect 581 -17 615 17
rect 673 -17 707 17
rect 765 -17 799 17
rect 857 -17 891 17
rect 949 -17 983 17
rect 1041 -17 1075 17
rect 1133 -17 1167 17
rect 1225 -17 1259 17
rect 1317 -17 1351 17
rect 1409 -17 1443 17
rect 1501 -17 1535 17
rect 1593 -17 1627 17
rect 1685 -17 1719 17
rect 1777 -17 1811 17
rect 1869 -17 1903 17
<< metal1 >>
rect 0 561 1932 592
rect 0 527 29 561
rect 63 527 121 561
rect 155 527 213 561
rect 247 527 305 561
rect 339 527 397 561
rect 431 527 489 561
rect 523 527 581 561
rect 615 527 673 561
rect 707 527 765 561
rect 799 527 857 561
rect 891 527 949 561
rect 983 527 1041 561
rect 1075 527 1133 561
rect 1167 527 1225 561
rect 1259 527 1317 561
rect 1351 527 1409 561
rect 1443 527 1501 561
rect 1535 527 1593 561
rect 1627 527 1685 561
rect 1719 527 1777 561
rect 1811 527 1869 561
rect 1903 527 1932 561
rect 0 496 1932 527
rect 114 391 172 397
rect 114 357 126 391
rect 160 388 172 391
rect 534 391 592 397
rect 534 388 546 391
rect 160 360 546 388
rect 160 357 172 360
rect 114 351 172 357
rect 534 357 546 360
rect 580 388 592 391
rect 848 391 906 397
rect 848 388 860 391
rect 580 360 860 388
rect 580 357 592 360
rect 534 351 592 357
rect 848 357 860 360
rect 894 357 906 391
rect 848 351 906 357
rect 193 323 251 329
rect 193 289 205 323
rect 239 320 251 323
rect 431 323 489 329
rect 431 320 443 323
rect 239 292 443 320
rect 239 289 251 292
rect 193 283 251 289
rect 431 289 443 292
rect 477 320 489 323
rect 935 323 993 329
rect 935 320 947 323
rect 477 292 947 320
rect 477 289 489 292
rect 431 283 489 289
rect 935 289 947 292
rect 981 289 993 323
rect 935 283 993 289
rect 0 17 1932 48
rect 0 -17 29 17
rect 63 -17 121 17
rect 155 -17 213 17
rect 247 -17 305 17
rect 339 -17 397 17
rect 431 -17 489 17
rect 523 -17 581 17
rect 615 -17 673 17
rect 707 -17 765 17
rect 799 -17 857 17
rect 891 -17 949 17
rect 983 -17 1041 17
rect 1075 -17 1133 17
rect 1167 -17 1225 17
rect 1259 -17 1317 17
rect 1351 -17 1409 17
rect 1443 -17 1501 17
rect 1535 -17 1593 17
rect 1627 -17 1685 17
rect 1719 -17 1777 17
rect 1811 -17 1869 17
rect 1903 -17 1932 17
rect 0 -48 1932 -17
<< labels >>
flabel metal1 s 29 -17 63 17 0 FreeSans 200 0 0 0 VGND
port 2 nsew
flabel metal1 s 29 527 63 561 0 FreeSans 200 0 0 0 VPWR
port 3 nsew
flabel locali s 1769 304 1803 338 0 FreeSans 400 0 0 0 Q_N
port 6 nsew
flabel locali s 289 221 323 255 0 FreeSans 200 0 0 0 D
port 8 nsew
flabel locali s 29 221 63 255 0 FreeSans 400 0 0 0 CLK
port 9 nsew
flabel locali s 1390 85 1424 119 0 FreeSans 400 0 0 0 Q
port 7 nsew
flabel pwell s 29 -17 63 17 0 FreeSans 200 0 0 0 VNB
port 4 nsew
flabel pwell s 46 0 46 0 0 FreeSans 200 0 0 0 VNB
flabel nwell s 29 527 63 561 0 FreeSans 200 0 0 0 VPB
port 5 nsew
flabel nwell s 46 544 46 544 0 FreeSans 200 0 0 0 VPB
rlabel comment s 0 0 0 0 4 dfxbp_2
<< properties >>
string FIXED_BBOX 0 0 1932 544
<< end >>

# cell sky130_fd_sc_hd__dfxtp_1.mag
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
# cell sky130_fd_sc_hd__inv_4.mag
magic
tech sky130A
magscale 1 2
<< nwell >>
rect -38 261 498 582
<< pwell >>
rect 11 21 449 203
rect 29 -17 63 21
<< scnmos >>
rect 89 47 119 177
rect 173 47 203 177
rect 257 47 287 177
rect 341 47 371 177
<< scpmoshvt >>
rect 89 297 119 497
rect 173 297 203 497
rect 257 297 287 497
rect 341 297 371 497
<< ndiff >>
rect 37 93 89 177
rect 37 59 45 93
rect 79 59 89 93
rect 37 47 89 59
rect 119 101 173 177
rect 119 67 129 101
rect 163 67 173 101
rect 119 47 173 67
rect 203 93 257 177
rect 203 59 213 93
rect 247 59 257 93
rect 203 47 257 59
rect 287 101 341 177
rect 287 67 297 101
rect 331 67 341 101
rect 287 47 341 67
rect 371 94 423 177
rect 371 60 381 94
rect 415 60 423 94
rect 371 47 423 60
<< pdiff >>
rect 37 485 89 497
rect 37 451 45 485
rect 79 451 89 485
rect 37 417 89 451
rect 37 383 45 417
rect 79 383 89 417
rect 37 349 89 383
rect 37 315 45 349
rect 79 315 89 349
rect 37 297 89 315
rect 119 485 173 497
rect 119 451 129 485
rect 163 451 173 485
rect 119 417 173 451
rect 119 383 129 417
rect 163 383 173 417
rect 119 349 173 383
rect 119 315 129 349
rect 163 315 173 349
rect 119 297 173 315
rect 203 485 257 497
rect 203 451 213 485
rect 247 451 257 485
rect 203 417 257 451
rect 203 383 213 417
rect 247 383 257 417
rect 203 297 257 383
rect 287 485 341 497
rect 287 451 297 485
rect 331 451 341 485
rect 287 417 341 451
rect 287 383 297 417
rect 331 383 341 417
rect 287 349 341 383
rect 287 315 297 349
rect 331 315 341 349
rect 287 297 341 315
rect 371 485 423 497
rect 371 451 381 485
rect 415 451 423 485
rect 371 297 423 451
<< ndiffc >>
rect 45 59 79 93
rect 129 67 163 101
rect 213 59 247 93
rect 297 67 331 101
rect 381 60 415 94
<< pdiffc >>
rect 45 451 79 485
rect 45 383 79 417
rect 45 315 79 349
rect 129 451 163 485
rect 129 383 163 417
rect 129 315 163 349
rect 213 451 247 485
rect 213 383 247 417
rect 297 451 331 485
rect 297 383 331 417
rect 297 315 331 349
rect 381 451 415 485
<< poly >>
rect 89 497 119 523
rect 173 497 203 523
rect 257 497 287 523
rect 341 497 371 523
rect 89 265 119 297
rect 173 265 203 297
rect 257 265 287 297
rect 341 265 371 297
rect 21 249 371 265
rect 21 215 37 249
rect 71 215 129 249
rect 163 215 213 249
rect 247 215 297 249
rect 331 215 371 249
rect 21 199 371 215
rect 89 177 119 199
rect 173 177 203 199
rect 257 177 287 199
rect 341 177 371 199
rect 89 21 119 47
rect 173 21 203 47
rect 257 21 287 47
rect 341 21 371 47
<< polycont >>
rect 37 215 71 249
rect 129 215 163 249
rect 213 215 247 249
rect 297 215 331 249
<< locali >>
rect 0 527 29 561
rect 63 527 121 561
rect 155 527 213 561
rect 247 527 305 561
rect 339 527 397 561
rect 431 527 460 561
rect 26 485 79 527
rect 26 451 45 485
rect 26 417 79 451
rect 26 383 45 417
rect 26 349 79 383
rect 26 315 45 349
rect 26 299 79 315
rect 113 485 179 493
rect 113 451 129 485
rect 163 451 179 485
rect 113 417 179 451
rect 113 383 129 417
rect 163 383 179 417
rect 113 349 179 383
rect 213 485 247 527
rect 213 417 247 451
rect 213 367 247 383
rect 281 485 347 493
rect 281 451 297 485
rect 331 451 347 485
rect 281 417 347 451
rect 381 485 423 527
rect 415 451 423 485
rect 381 435 423 451
rect 281 383 297 417
rect 331 383 347 417
rect 113 315 129 349
rect 163 333 179 349
rect 281 349 347 383
rect 281 333 297 349
rect 163 315 297 333
rect 331 337 347 349
rect 331 315 434 337
rect 113 299 434 315
rect 21 249 347 265
rect 21 215 37 249
rect 71 215 129 249
rect 163 215 213 249
rect 247 215 297 249
rect 331 215 347 249
rect 381 181 434 299
rect 113 145 434 181
rect 26 93 79 109
rect 26 59 45 93
rect 26 17 79 59
rect 113 101 179 145
rect 113 67 129 101
rect 163 67 179 101
rect 113 51 179 67
rect 213 93 247 109
rect 213 17 247 59
rect 281 101 347 145
rect 281 67 297 101
rect 331 67 347 101
rect 281 51 347 67
rect 381 94 431 110
rect 415 60 431 94
rect 381 17 431 60
rect 0 -17 29 17
rect 63 -17 121 17
rect 155 -17 213 17
rect 247 -17 305 17
rect 339 -17 397 17
rect 431 -17 460 17
<< viali >>
rect 29 527 63 561
rect 121 527 155 561
rect 213 527 247 561
rect 305 527 339 561
rect 397 527 431 561
rect 29 -17 63 17
rect 121 -17 155 17
rect 213 -17 247 17
rect 305 -17 339 17
rect 397 -17 431 17
<< metal1 >>
rect 0 561 460 592
rect 0 527 29 561
rect 63 527 121 561
rect 155 527 213 561
rect 247 527 305 561
rect 339 527 397 561
rect 431 527 460 561
rect 0 496 460 527
rect 0 17 460 48
rect 0 -17 29 17
rect 63 -17 121 17
rect 155 -17 213 17
rect 247 -17 305 17
rect 339 -17 397 17
rect 431 -17 460 17
rect 0 -48 460 -17
<< labels >>
flabel locali s 397 153 431 187 0 FreeSans 340 0 0 0 Y
port 6 nsew
flabel locali s 397 221 431 255 0 FreeSans 340 0 0 0 Y
port 6 nsew
flabel locali s 397 289 431 323 0 FreeSans 340 0 0 0 Y
port 6 nsew
flabel locali s 29 221 63 255 0 FreeSans 340 0 0 0 A
port 7 nsew
flabel locali s 121 221 155 255 0 FreeSans 340 0 0 0 A
port 7 nsew
flabel locali s 213 221 247 255 0 FreeSans 340 0 0 0 A
port 7 nsew
flabel locali s 305 221 339 255 0 FreeSans 340 0 0 0 A
port 7 nsew
flabel nwell s 29 527 63 561 0 FreeSans 200 0 0 0 VPB
port 2 nsew
flabel pwell s 29 -17 63 17 0 FreeSans 200 0 0 0 VNB
port 3 nsew
flabel metal1 s 29 527 63 561 0 FreeSans 200 0 0 0 VPWR
port 4 nsew
flabel metal1 s 29 -17 63 17 0 FreeSans 200 0 0 0 VGND
port 5 nsew
rlabel comment s 0 0 0 0 4 inv_4
<< properties >>
string FIXED_BBOX 0 0 460 544
string path 0.000 0.000 2.300 0.000 
<< end >>
